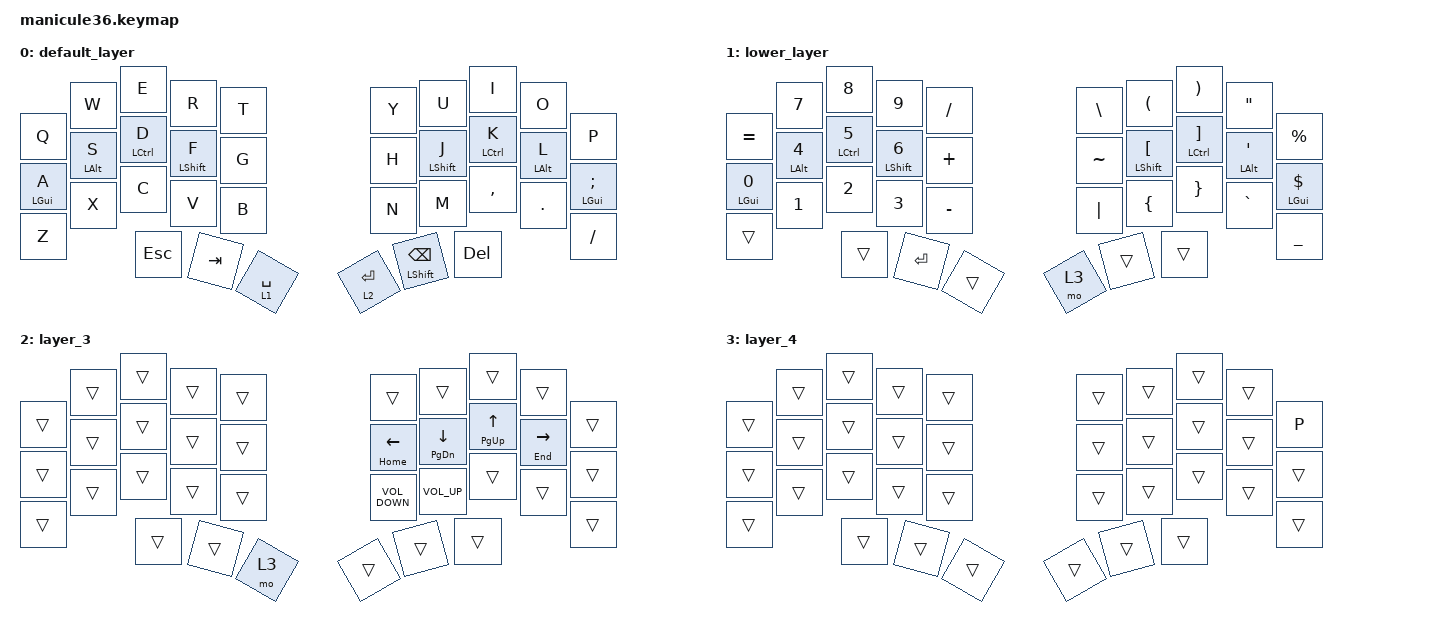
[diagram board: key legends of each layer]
#include <behaviors.dtsi>
#include <dt-bindings/zmk/keys.h>

///
/// 41  0  1  2  3  4  5  6  7  8  9 40
/// 39 10 11 12 13 14 15 16 17 18 19 38
/// 37 20 21 22 23 24 25 26 27 28 29 36
///         30 31 32 33 34 35

#define KEYS_L 0 1 2 3 4 10 11 12 13 14 20 21 22 23 24
#define KEYS_R 5 6 7 8 9 15 16 17 18 19 25 26 27 28 29
#define THUMBS 30 31 32 33 34 35

/ {
    behaviors {
        hrml: hrml {
            compatible = "zmk,behavior-hold-tap";
            bindings = <&kp>, <&kp>;

            #binding-cells = <2>;
            tapping-term-ms = <200>;
            quick-tap-ms = <250>;
            flavor = "balanced";
            hold-trigger-on-release;
            require-prior-idle-ms = <200>;
            hold-trigger-key-positions = <KEYS_R THUMBS>;
        };
    
        hrmr: hrmr {
            compatible = "zmk,behavior-hold-tap";
            bindings = <&kp>, <&kp>;

            #binding-cells = <2>;
            tapping-term-ms = <200>;
            quick-tap-ms = <250>;
            flavor = "balanced";
            hold-trigger-on-release;
            require-prior-idle-ms = <200>;
            hold-trigger-key-positions = <KEYS_L THUMBS>;
        };

        nav: nav {
            compatible = "zmk,behavior-hold-tap";
            label = "Arrow navigation";
            bindings = <&kp>, <&kp>;

            #binding-cells = <2>;
            tapping-term-ms = <220>;
            flavor = "tap-preferred";
            quick-tap-ms = <220>;
        };

        foo: foo {
            compatible = "zmk,behavior-hold-tap";
            label = "Backspace Shift";
            bindings = <&kp>, <&kp>;

            #binding-cells = <2>;
            tapping-term-ms = <220>;
            flavor = "balanced";
            quick-tap-ms = <220>;
        };
    };

    combos {
        compatible = "zmk,combos";

        bootloader_left {
            bindings = <&bootloader>;
            key-positions = <0 9>;
        };

        copy {
            bindings = <&kp LC(C)>;
            key-positions = <21 22>;
        };

        paste {
            bindings = <&kp LC(V)>;
            key-positions = <22 23>;
        };

        studio {
            bindings = <&studio_unlock>;
            key-positions = <10 19>;
        };
    };

    keymap {
        compatible = "zmk,keymap";

        default_layer {
            bindings = <
//    ┌──────────────┬──────────────┬──────────────┬──────────────┬──────────┐   ┌──────────┬────────────────┬──────────────┬──────────────┬──────────────┐
//    │      Q       │      W       │      E       │      R       │    T     │   │    Y     │       U        │      I       │      O       │      P       │
//    ├──────────────┼──────────────┼──────────────┼──────────────┼──────────┤   ├──────────┼────────────────┼──────────────┼──────────────┼──────────────┤
//    │ &hrml lgui A │ &hrml lalt S │ &hrml lctl D │ &hrml lsft F │    G     │   │    H     │  &hrmr lsft J  │ &hrmr lctl K │ &hrmr lalt L │ &hrmr lgui ; │
//    ├──────────────┼──────────────┼──────────────┼──────────────┼──────────┤   ├──────────┼────────────────┼──────────────┼──────────────┼──────────────┤
//    │      Z       │      X       │      C       │      V       │    B     │   │    N     │       M        │      ,       │      .       │      /       │
//    └──────────────┴──────────────┼──────────────┼──────────────┼──────────┤   ├──────────┼────────────────┼──────────────┼──────────────┴──────────────┘
//                                  │     esc      │     tab      │ lt 1 spc │   │ lt 2 ent │ &nav lsft bspc │     del      │
//                                  └──────────────┴──────────────┴──────────┘   └──────────┴────────────────┴──────────────┘
  &kp Q              &kp W              &kp E           &kp R                &kp T             &kp Y         &kp U                       &kp I           &kp O              &kp P
  &hrml LEFT_GUI A   &hrml LEFT_ALT S   &hrml LCTRL D   &hrml LEFT_SHIFT F   &kp G             &kp H         &hrmr LEFT_SHIFT J          &hrmr LCTRL K   &hrmr LEFT_ALT L   &hrmr LEFT_GUI SEMI
  &kp Z              &kp X              &kp C           &kp V                &kp B             &kp N         &kp M                       &kp COMMA       &kp DOT            &kp FSLH
                                        &kp ESCAPE      &kp TAB              &lt 1 SPACE       &lt 2 ENTER   &foo LEFT_SHIFT BACKSPACE   &kp DELETE
            >;
        };

        lower_layer {
            bindings = <
//    ┌──────────────┬──────────────┬──────────────┬──────────────┬─────┐   ┌──────┬──────────────┬──────────────┬──────────────┬──────────────┐
//    │      =       │      7       │      8       │      9       │  /  │   │  \   │      (       │      )       │      "       │      %       │
//    ├──────────────┼──────────────┼──────────────┼──────────────┼─────┤   ├──────┼──────────────┼──────────────┼──────────────┼──────────────┤
//    │ &hrml lgui 0 │ &hrml lalt 4 │ &hrml lctl 5 │ &hrml lsft 6 │  +  │   │  ~   │ &hrmr lsft [ │ &hrmr lctl ] │ &hrmr lalt ' │ &hrmr lgui $ │
//    ├──────────────┼──────────────┼──────────────┼──────────────┼─────┤   ├──────┼──────────────┼──────────────┼──────────────┼──────────────┤
//    │              │      1       │      2       │      3       │  -  │   │  |   │      {       │      }       │      `       │      _       │
//    └──────────────┴──────────────┼──────────────┼──────────────┼─────┤   ├──────┼──────────────┼──────────────┼──────────────┴──────────────┘
//                                  │              │     ent      │     │   │ mo 3 │              │              │
//                                  └──────────────┴──────────────┴─────┘   └──────┴──────────────┴──────────────┘
  &kp EQUAL           &kp N7              &kp N8           &kp N9                &kp SLASH       &kp BACKSLASH   &kp LEFT_PARENTHESIS            &kp RIGHT_PARENTHESIS       &kp DOUBLE_QUOTES             &kp PERCENT
  &hrml LEFT_GUI N0   &hrml LEFT_ALT N4   &hrml LCTRL N5   &hrml LEFT_SHIFT N6   &kp PLUS        &kp TILDE       &hrmr LEFT_SHIFT LEFT_BRACKET   &hrmr LCTRL RIGHT_BRACKET   &hrmr LEFT_ALT SINGLE_QUOTE   &hrmr LEFT_GUI DOLLAR
  &trans              &kp N1              &kp N2           &kp N3                &kp MINUS       &kp PIPE        &kp LEFT_BRACE                  &kp RIGHT_BRACE             &kp GRAVE                     &kp UNDER
                                          &trans           &kp ENTER             &trans          &mo 3           &trans                          &trans
            >;
        };

        layer_3 {
            bindings = <
//    ┌─────┬─────┬─────┬─────┬──────┐   ┌────────────────┬────────────────┬──────────────┬───────────────┬─────┐
//    │     │     │     │     │      │   │                │                │              │               │     │
//    ├─────┼─────┼─────┼─────┼──────┤   ├────────────────┼────────────────┼──────────────┼───────────────┼─────┤
//    │     │     │     │     │      │   │ &nav home left │ &nav pgdn down │ &nav pgup up │ &nav end rght │     │
//    ├─────┼─────┼─────┼─────┼──────┤   ├────────────────┼────────────────┼──────────────┼───────────────┼─────┤
//    │     │     │     │     │      │   │      vold      │      volu      │              │               │     │
//    └─────┴─────┼─────┼─────┼──────┤   ├────────────────┼────────────────┼──────────────┼───────────────┴─────┘
//                │     │     │ mo 3 │   │                │                │              │
//                └─────┴─────┴──────┘   └────────────────┴────────────────┴──────────────┘
  &trans   &trans   &trans   &trans   &trans       &trans                 &trans                      &trans                  &trans           &trans
  &trans   &trans   &trans   &trans   &trans       &nav HOME LEFT_ARROW   &nav PAGE_DOWN DOWN_ARROW   &nav PAGE_UP UP_ARROW   &nav END RIGHT   &trans
  &trans   &trans   &trans   &trans   &trans       &kp C_VOLUME_DOWN      &kp C_VOLUME_UP             &trans                  &trans           &trans
                    &trans   &trans   &mo 3        &trans                 &trans                      &trans
            >;
        };

        layer_4 {
            bindings = <
//    ┌─────┬─────┬─────┬─────┬─────┐   ┌─────┬─────┬─────┬─────┬─────┐
//    │     │     │     │     │     │   │     │     │     │     │  P  │
//    ├─────┼─────┼─────┼─────┼─────┤   ├─────┼─────┼─────┼─────┼─────┤
//    │     │     │     │     │     │   │     │     │     │     │     │
//    ├─────┼─────┼─────┼─────┼─────┤   ├─────┼─────┼─────┼─────┼─────┤
//    │     │     │     │     │     │   │     │     │     │     │     │
//    └─────┴─────┼─────┼─────┼─────┤   ├─────┼─────┼─────┼─────┴─────┘
//                │     │     │     │   │     │     │     │
//                └─────┴─────┴─────┘   └─────┴─────┴─────┘
  &trans   &trans   &trans   &trans   &trans       &trans   &trans   &trans   &trans   &kp P
  &trans   &trans   &trans   &trans   &trans       &trans   &trans   &trans   &trans   &trans
  &trans   &trans   &trans   &trans   &trans       &trans   &trans   &trans   &trans   &trans
                    &trans   &trans   &trans       &trans   &trans   &trans
            >;
        };
    };
};
